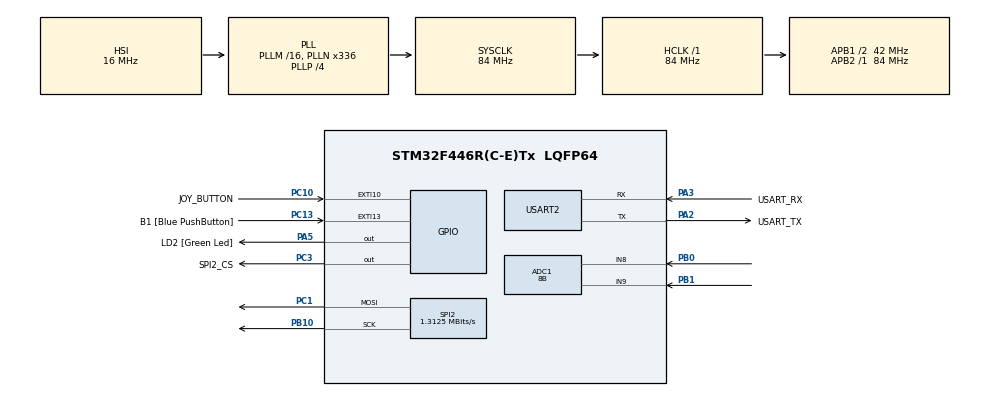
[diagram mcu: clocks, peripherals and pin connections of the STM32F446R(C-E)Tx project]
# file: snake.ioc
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ADC1.Channel-0\#ChannelRegularConversion=ADC_CHANNEL_8
ADC1.NbrOfConversionFlag=1
ADC1.Rank-0\#ChannelRegularConversion=1
ADC1.Resolution=ADC_RESOLUTION_8B
ADC1.SamplingTime-0\#ChannelRegularConversion=ADC_SAMPLETIME_3CYCLES
ADC1.master=1
Mcu.Family=STM32F4
Mcu.Name=STM32F446R(C-E)Tx
Mcu.Package=LQFP64
NVIC.PriorityGroup=NVIC_PRIORITYGROUP_0
NVIC.TIM2_IRQn=true\:0\:0\:false\:false\:true\:true\:true\:true
PA13.GPIO_Label=TMS
PA13.Mode=Serial_Wire
PA13.Signal=SYS_JTMS-SWDIO
PA14.GPIO_Label=TCK
PA14.Mode=Serial_Wire
PA14.Signal=SYS_JTCK-SWCLK
PA2.GPIO_Label=USART_TX
PA2.Mode=Asynchronous
PA2.Signal=USART2_TX
PA3.GPIO_Label=USART_RX
PA3.Mode=Asynchronous
PA3.Signal=USART2_RX
PA5.GPIO_Label=LD2 [Green Led]
PA5.Signal=GPIO_Output
PB0.Signal=ADCx_IN8
PB1.Signal=ADCx_IN9
PB10.Mode=TX_Only_Simplex_Unidirect_Master
PB10.Signal=SPI2_SCK
PB3.GPIO_Label=SWO
PB3.Signal=SYS_JTDO-SWO
PC1.Mode=TX_Only_Simplex_Unidirect_Master
PC1.Signal=SPI2_MOSI
PC10.GPIO_Label=JOY_BUTTON
PC10.Signal=GPXTI10
PC13.GPIO_Label=B1 [Blue PushButton]
PC13.GPIO_ModeDefaultEXTI=GPIO_MODE_IT_FALLING
PC13.Signal=GPXTI13
PC14-OSC32_IN.Mode=LSE-External-Oscillator
PC14-OSC32_IN.Signal=RCC_OSC32_IN
PC15-OSC32_OUT.Mode=LSE-External-Oscillator
PC15-OSC32_OUT.Signal=RCC_OSC32_OUT
PC3.GPIO_Label=SPI2_CS
PC3.PinState=GPIO_PIN_RESET
PC3.Signal=GPIO_Output
PH0-OSC_IN.Mode=HSE-External-Oscillator
PH0-OSC_IN.Signal=RCC_OSC_IN
PH1-OSC_OUT.Mode=HSE-External-Oscillator
PH1-OSC_OUT.Signal=RCC_OSC_OUT
ProjectManager.HeapSize=0x200
ProjectManager.StackSize=0x400
ProjectManager.TargetToolchain=Makefile
RCC.48MHZClocksFreq_Value=84000000
RCC.AHBFreq_Value=84000000
RCC.APB1CLKDivider=RCC_HCLK_DIV2
RCC.APB1Freq_Value=42000000
RCC.APB1TimFreq_Value=84000000
RCC.APB2Freq_Value=84000000
RCC.APB2TimFreq_Value=84000000
RCC.CortexFreq_Value=84000000
RCC.FLatency-AdvancedSettings=FLASH_LATENCY_2
RCC.HCLKFreq_Value=84000000
RCC.HSE_VALUE=8000000
RCC.HSI_VALUE=16000000
RCC.PLLN=336
RCC.PLLP=RCC_PLLP_DIV4
RCC.SYSCLKFreq_VALUE=84000000
RCC.SYSCLKSource=RCC_SYSCLKSOURCE_PLLCLK
RCC.USBFreq_Value=168000000
RCC.VCOOutputFreq_Value=336000000
SH.ADCx_IN8.0=ADC1_IN8,IN8
SH.ADCx_IN9.0=ADC1_IN9,IN9
SPI2.BaudRatePrescaler=SPI_BAUDRATEPRESCALER_32
SPI2.CLKPhase=SPI_PHASE_1EDGE
SPI2.CLKPolarity=SPI_POLARITY_LOW
SPI2.CalculateBaudRate=1.3125 MBits/s
SPI2.DataSize=SPI_DATASIZE_8BIT
SPI2.Direction=SPI_DIRECTION_2LINES
SPI2.FirstBit=SPI_FIRSTBIT_MSB
SPI2.Mode=SPI_MODE_MASTER
SPI2.VirtualType=VM_MASTER
TIM2.AutoReloadPreload=TIM_AUTORELOAD_PRELOAD_ENABLE
TIM2.ClockDivision=TIM_CLOCKDIVISION_DIV1
TIM2.Period=1680000
USART2.VirtualMode=VM_ASYNC
VP_TIM2_VS_ClockSourceINT.Mode=Internal
board=NUCLEO-F446RE

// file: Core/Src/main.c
/* USER CODE BEGIN Header */
/**
  ******************************************************************************
  * @file           : main.c
  * @brief          : Main program body
  ******************************************************************************
  * @attention
  *
  * Copyright (c) 2022 STMicroelectronics.
  * All rights reserved.
  *
  * This software is licensed under terms that can be found in the LICENSE file
  * in the root directory of this software component.
  * If no LICENSE file comes with this software, it is provided AS-IS.
  *
  ******************************************************************************
  */
/* USER CODE END Header */
#include "main.h"
#include "adc.h"
#include "spi.h"
#include "stm32f4xx_hal.h"
#include "tim.h"
#include "usart.h"
#include "gpio.h"

/* USER CODE BEGIN Includes */
#include "MAX7219.h"
#include "joystick.h"
#include <stdint.h>
/* USER CODE END Includes */

/* USER CODE BEGIN PD */
#define INITIAL_LENGTH 3
#define MAX_LENGTH 16
/* USER CODE END PD */

/* USER CODE BEGIN PV */

  typedef struct
  {
    uint8_t length;
    uint8_t row[64];
    uint8_t col[64];
  } snakeStruct;

  uint8_t skull1[8] = { 0b00111100,
                      0b00110011,
                      0b11110011,
                      0b01001111,
                      0b11110011,
                      0b00110011,
                      0b00111100,
                      0b00000000};

  uint8_t skull2[8] = { 0b00000000,
                      0b00111100,
                      0b00110011,
                      0b11110011,
                      0b01001111,
                      0b11110011,
                      0b00110011,
                      0b00111100};

/* USER CODE END PV */

void SystemClock_Config(void);
/* USER CODE BEGIN PFP */
void updateInput(joystick * joyHandle, MAX7219 * segmentHandle);
uint8_t updateSnake(joystick * joyHandle, snakeStruct * snakeHandle);
void updateWorld(uint8_t * row, uint8_t * col, snakeStruct * snakeHandle, uint8_t worldFrame[8]);
void initWorld(uint8_t * row, uint8_t * col, MAX7219 * segHandle, joystick * joyHandle, snakeStruct * snakeHandle, uint8_t worldFrame[8]);
/* USER CODE END PFP */

/* USER CODE BEGIN 0 */
void updateInput(joystick * joyHandle, MAX7219 * segmentHandle)
{
      joyHandle->prev_direction = joyHandle->direction;
     // Update Input
      joystick_read(joyHandle);

      if(joyHandle->x_axis > 200 && joyHandle->prev_direction != JOY_WEST)
      {
        joyHandle->direction = JOY_EAST;
      }
      else if(joyHandle->x_axis < 50 && joyHandle->prev_direction != JOY_EAST)
      {
        joyHandle->direction = JOY_WEST;
      }
      else if(joyHandle->y_axis < 50 && joyHandle->prev_direction != JOY_SOUTH) //Note: Joystick Y axis is flipped
      {
        joyHandle->direction = JOY_NORTH;
      }
      else if(joyHandle->y_axis > 200 && joyHandle->prev_direction != JOY_NORTH)
      {
        joyHandle->direction = JOY_SOUTH ;
      }
}

uint8_t updateSnake(joystick * joyHandle, snakeStruct * snakeHandle)
{

      //Update snake body
      for(int i = snakeHandle->length+1; i > 0; i--)
      {
        if(snakeHandle->row[i] == snakeHandle->row[0] && snakeHandle->col[i] == snakeHandle->col[0])
        {
          return 1;
        }
        snakeHandle->row[i] = snakeHandle->row[i-1];
        snakeHandle->col[i] = snakeHandle->col[i-1];
      }

      //Update snake head
      if(joyHandle->direction == JOY_EAST)
      {
        snakeHandle->col[0] = (snakeHandle->col[0] == MAX7219_ALL_ROWS-1) ? 0 : snakeHandle->col[0]+1 ;
      }
      else if(joyHandle->direction == JOY_WEST)
      {
        snakeHandle->col[0] = (snakeHandle->col[0] == 0) ? MAX7219_ALL_ROWS-1: snakeHandle->col[0]-1 ;
      }
      else if(joyHandle->direction == JOY_NORTH)
      {
        snakeHandle->row[0] = (snakeHandle->row[0] == 0) ? MAX7219_ALL_ROWS-1 : snakeHandle->row[0]-1 ;
      }
      else if(joyHandle->direction == JOY_SOUTH)
      {
        snakeHandle->row[0] = (snakeHandle->row[0] == MAX7219_ALL_ROWS-1) ? 0 : snakeHandle->row[0]+1 ;
      }

      return 0;
}

void updateWorld(uint8_t * row, uint8_t * col, snakeStruct * snakeHandle, uint8_t worldFrame[8])
{
        //Clear Snake from World
      for(int i = 0; i < 8; i++)
      {
        worldFrame[i] = 0;
      }

      if(snakeHandle->row[0] == *row && snakeHandle->col[0] == *col)
      {
        snakeHandle->length++;

        *row = (uint8_t) HAL_GetTick() >> 4;
        *row = (uint8_t) *row % 7;
        *col = (uint8_t) HAL_GetTick();
        *col = (uint8_t) *col % 7;
      }

      for(int i = 0; i < snakeHandle->length; i++)
      {
        worldFrame[snakeHandle->col[i]] |= (1 << snakeHandle->row[i]);
      }

      worldFrame[*col] |= 1 << *row;
}

void initWorld(uint8_t * row, uint8_t * col, MAX7219 * segHandle, joystick * joyHandle, snakeStruct * snakeHandle, uint8_t worldFrame[8])
{
  joyHandle->direction = JOY_EAST;
  for(int i = 0; i<8; i++)
  {
    worldFrame[i] = 0;
  }

  snakeHandle->length = INITIAL_LENGTH;

  snakeHandle->row[0] = 4;
  snakeHandle->row[1] = 4;
  snakeHandle->row[2] = 4;
  snakeHandle->col[0] = 6;
  snakeHandle->col[1] = 5;
  snakeHandle->col[2] = 4;

  MAX7219_blockSet(segHandle, skull1);
  HAL_Delay(100);
  MAX7219_blockSet(segHandle, skull2);
  HAL_Delay(100);
  MAX7219_blockSet(segHandle, skull1);
  HAL_Delay(100);

  *row = (uint8_t) HAL_GetTick();
  *row = (uint8_t) *row % 7;

  *col = (uint8_t) HAL_GetTick() >> 1;
  *col = (uint8_t) *col % 7;

}
/* USER CODE END 0 */

int main(void)
{

  /* MCU Configuration--------------------------------------------------------*/

  /* Reset of all peripherals, Initializes the Flash interface and the Systick. */
  HAL_Init();

  /* Configure the system clock */
  SystemClock_Config();

  /* Initialize all configured peripherals */
  MX_GPIO_Init();
  MX_ADC1_Init();
  MX_SPI2_Init();
  MX_USART2_UART_Init();
  MX_TIM2_Init();
  /* USER CODE BEGIN 2 */
  MAX7219 segHandle;
  joystick joyHandle;

  // ADC_ChannelConfTypeDef sConfig = {0};
  // sConfig.SamplingTime = ADC_SAMPLETIME_3CYCLES;

  joystick_init(&joyHandle);
  MAX7219_init(&segHandle, &hspi2);

  uint8_t world[8];

  snakeStruct snake = {INITIAL_LENGTH,{0},{0}};
  snake.row[0] = 4;
  snake.row[1] = 4;
  snake.row[2] = 4;
  snake.col[0] = 6;
  snake.col[1] = 5;
  snake.col[2] = 4;

  joyHandle.direction = JOY_EAST;

  uint8_t rand_row;
  uint8_t rand_col;

  initWorld(&rand_row, &rand_col, &segHandle, &joyHandle, &snake, world);

  /* USER CODE END 2 */

  /* Infinite loop */
  /* USER CODE BEGIN WHILE */
  while (1)
  {

      // Read Input
      updateInput(&joyHandle,&segHandle);

      //Update Snake Position
      if(updateSnake(&joyHandle,&snake))
      {
        //Hit Self, Restart
        initWorld(&rand_row, &rand_col, &segHandle, &joyHandle, &snake, world);
      }

      updateWorld(&rand_row,&rand_col,&snake,world);

      //Write World to Display
      MAX7219_blockSet(&segHandle, world);
      HAL_Delay(100);

    /* USER CODE END WHILE */

  }
}

void SystemClock_Config(void)
{
  RCC_OscInitTypeDef RCC_OscInitStruct = {0};
  RCC_ClkInitTypeDef RCC_ClkInitStruct = {0};

  /** Configure the main internal regulator output voltage
  */
  __HAL_RCC_PWR_CLK_ENABLE();
  __HAL_PWR_VOLTAGESCALING_CONFIG(PWR_REGULATOR_VOLTAGE_SCALE3);

  /** Initializes the RCC Oscillators according to the specified parameters
  * in the RCC_OscInitTypeDef structure.
  */
  RCC_OscInitStruct.OscillatorType = RCC_OSCILLATORTYPE_HSI;
  RCC_OscInitStruct.HSIState = RCC_HSI_ON;
  RCC_OscInitStruct.HSICalibrationValue = RCC_HSICALIBRATION_DEFAULT;
  RCC_OscInitStruct.PLL.PLLState = RCC_PLL_ON;
  RCC_OscInitStruct.PLL.PLLSource = RCC_PLLSOURCE_HSI;
  RCC_OscInitStruct.PLL.PLLM = 16;
  RCC_OscInitStruct.PLL.PLLN = 336;
  RCC_OscInitStruct.PLL.PLLP = RCC_PLLP_DIV4;
  RCC_OscInitStruct.PLL.PLLQ = 2;
  RCC_OscInitStruct.PLL.PLLR = 2;
  if (HAL_RCC_OscConfig(&RCC_OscInitStruct) != HAL_OK)
  {
    Error_Handler();
  }

  /** Initializes the CPU, AHB and APB buses clocks
  */
  RCC_ClkInitStruct.ClockType = RCC_CLOCKTYPE_HCLK|RCC_CLOCKTYPE_SYSCLK
                              |RCC_CLOCKTYPE_PCLK1|RCC_CLOCKTYPE_PCLK2;
  RCC_ClkInitStruct.SYSCLKSource = RCC_SYSCLKSOURCE_PLLCLK;
  RCC_ClkInitStruct.AHBCLKDivider = RCC_SYSCLK_DIV1;
  RCC_ClkInitStruct.APB1CLKDivider = RCC_HCLK_DIV2;
  RCC_ClkInitStruct.APB2CLKDivider = RCC_HCLK_DIV1;

  if (HAL_RCC_ClockConfig(&RCC_ClkInitStruct, FLASH_LATENCY_2) != HAL_OK)
  {
    Error_Handler();
  }
}

void Error_Handler(void)
{
  __disable_irq();
  while (1)
  {
  }
}
